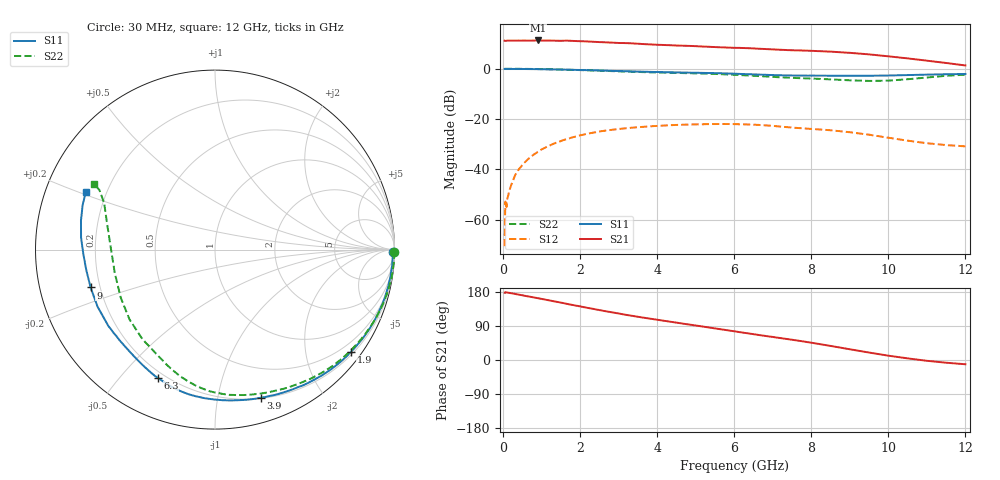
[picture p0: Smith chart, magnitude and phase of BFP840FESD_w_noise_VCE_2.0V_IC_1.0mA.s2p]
! Infineon Technologies  Discrete & RF Semiconductors
! BFP840FESD
! VCE =  2.0 V,  IC =  1.0 mA
! Common Emitter S-Parameters:  May 2012
# GHz  S  MA  R  50
!  f  S11  S21  S12  S22
! GHz  MAG  ANG  MAG  ANG  MAG  ANG  MAG  ANG
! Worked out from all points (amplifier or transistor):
!   103 points, 30 MHz to 12 GHz, reference 50 ohm
!   highest |S21| = 11.2 dB at 900 MHz (marker M1)
!   |S21| within 3 dB of that: start of sweep to 6.222 GHz
!   unconditionally stable (mu >= 1): 8.783 GHz to end of sweep
!   at 400 MHz: K = -0.01, MSG = 25.6 dB, |S12| = -39.9 dB
!   at 3.7 GHz: K = 0.17, MSG = 16.4 dB, |S12| = -23.0 dB
!   at 12 GHz: K = 1.92, MAG = 10.6 dB, |S12| = -30.8 dB
!   lowest NFmin = 0.57 dB at 450 MHz
!   S11 on the Smith chart (normalised r, x): 30 MHz: open; 1.9 GHz: 0.27, -2.98; 3.9 GHz: 0.21, -1.33; 6.3 GHz: 0.17, -0.64; 9 GHz: 0.16, -0.14; 12 GHz: 0.12, +0.21
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0.03  0.9915 -0.7  3.611 177.4  0.0003 88.2  0.9992 -0.7
0.05  0.9905 -1.0  3.579 178.8  0.0023 72.1  1 -0.9
0.08  0.991 -1.6  3.6 178.3  0.0018 91.6  0.9995 -1.5
0.09  0.9907 -1.8  3.605 178.1  0.0024 93.4  0.9991 -1.6
0.2  0.9904 -3.9  3.611 176.2  0.0049 86.9  0.999 -3.6
0.5  0.988 -9.7  3.628 170.6  0.0126 81.7  0.9954 -9.0
0.9  0.9812 -17.5  3.646 163.0  0.0225 75.2  0.986 -16.3
1.6  0.9603 -31.1  3.61 149.2  0.0393 63.3  0.9596 -29.5
1.9  0.9475 -36.9  3.545 143.2  0.0456 57.7  0.9451 -35.3
2.1  0.9405 -40.8  3.508 139.2  0.0496 54.3  0.936 -39.1
3.2  0.891 -60.8  3.225 118.9  0.066 36.4  0.8774 -59.0
3.9  0.8636 -72.9  3.024 107.7  0.0726 26.9  0.8471 -70.0
4.1  0.858 -76.4  2.975 104.6  0.0741 24.3  0.8399 -73.0
4.9  0.8348 -90.6  2.831 92.5  0.0784 14.3  0.8131 -84.4
6.1  0.792 -110.5  2.601 74.1  0.0792 -0.8  0.7523 -100.9
6.3  0.7824 -114.0  2.571 71.1  0.0785 -3.3  0.7389 -103.7
7.1  0.7453 -127.6  2.402 59.2  0.0722 -12.6  0.6826 -115.4
8.5  0.7275 -154.1  2.187 37.1  0.0601 -21.3  0.615 -140.7
9  0.7245 -163.1  2.069 28.3  0.0549 -24.4  0.5896 -153.0
9.5  0.7261 -171.0  1.93 19.6  0.049 -26.4  0.5733 -167.0
10.5  0.7491 174.9  1.606 4.3  0.0373 -23.1  0.6191 166.3
12  0.788 156.1  1.163 -11.2  0.0288 -1.1  0.7633 151.6
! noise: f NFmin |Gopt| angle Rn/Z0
0.45  0.57  0.78  7  0.51
0.9  0.66  0.77  14  0.5
1.5  0.78  0.72  22  0.45
1.9  0.84  0.68  29  0.43
2.4  0.91  0.66  37  0.43
3.5  0.99  0.63  56  0.39
5.5  1.2  0.52  89  0.28
8  1.7  0.46  149  0.18
10  1.98  0.47  -173  0.14
12  2.15  0.62  -141  0.18
